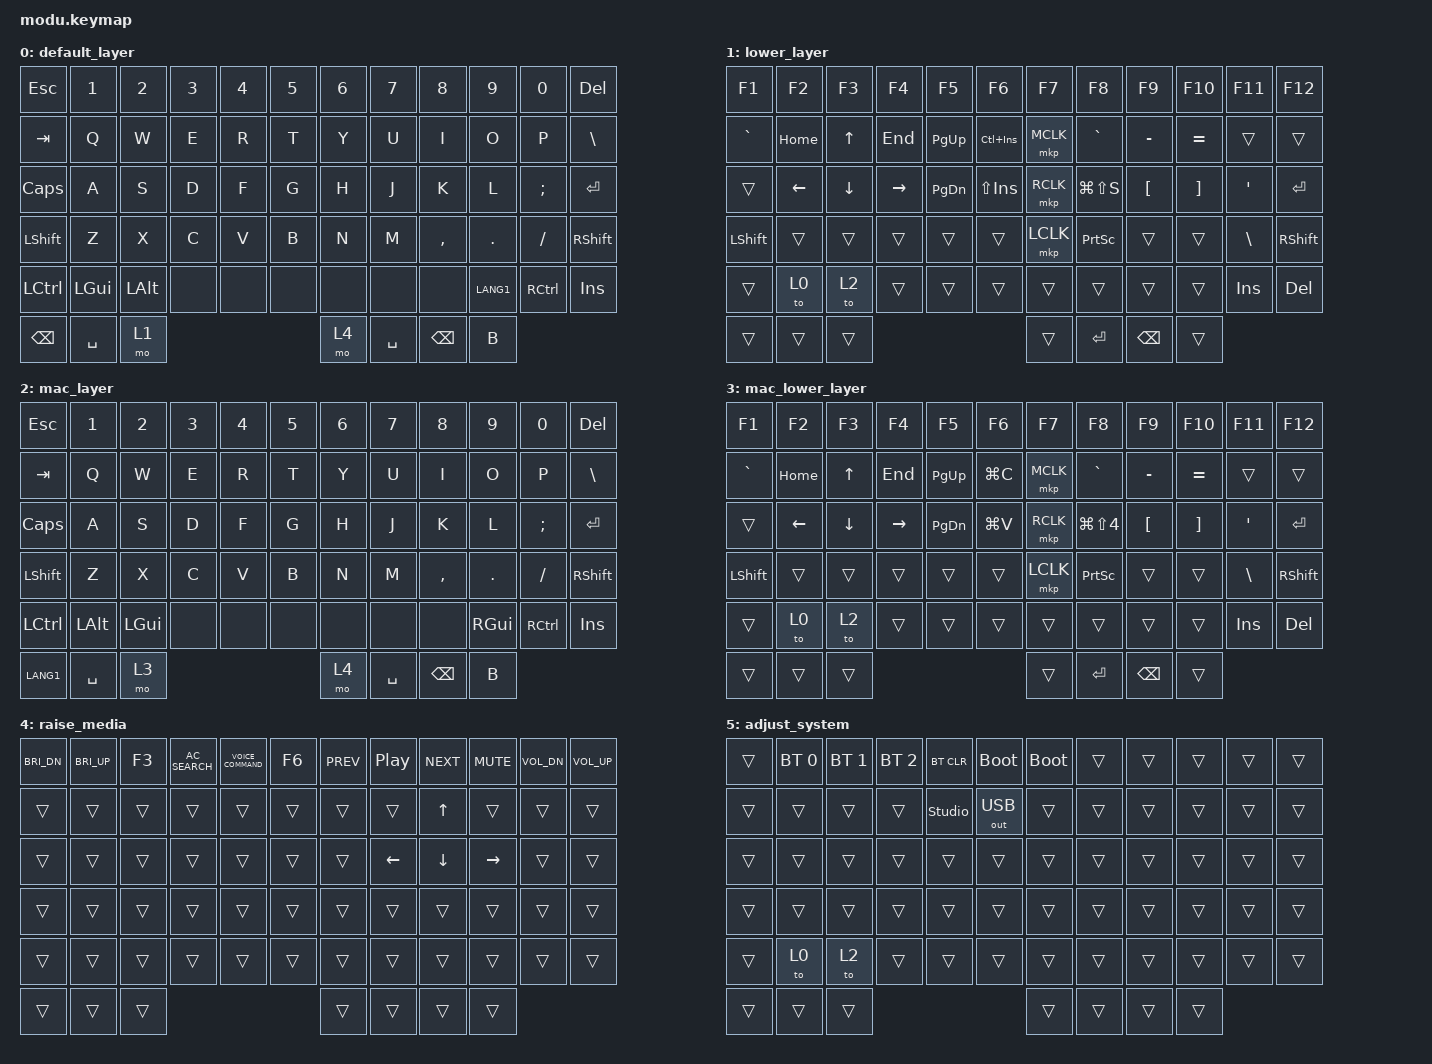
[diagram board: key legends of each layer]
/*
 * Copyright (c) 2026 EKS Inc.
 * Created by Ryu.
 * SPDX-License-Identifier: LicenseRef-EKS-NonCommercial-1.0
 *
 * Optimized:
 * Reduced 9 layers to 6 using Conditional Layers.
 * - Left MO: Navigation & F-keys (Win Lower / Mac Lower)
 * - Right MO: Media Controls (Raise)
 * - Both MOs: Adjust (Bootloader, BT, OS Toggle)
 * - OS Modes:
 *   - Windows (Layer 0): Standard PC layout [Ctrl] - [Win] - [Alt]
 *   - Mac (Layer 2): Standard Apple layout [Ctrl] - [Opt] - [Cmd]
 */

#include <behaviors.dtsi>
#include <dt-bindings/zmk/bt.h>
#include <dt-bindings/zmk/keys.h>
#include <dt-bindings/zmk/pointing.h>
#include <dt-bindings/zmk/outputs.h>
#include "modu-layouts.dtsi"

/ {
    /*
     * -------------------------------------------------------------------------
     * [레이어 구조 안내]
     * - Layer 0 (default_layer) : Windows 기본 (Ctrl - Win - Alt)
     * - Layer 1 (lower_layer)   : Windows Lower (F1~F12, 방향키, Win 클립보드)
     * - Layer 2 (mac_layer)     : Mac 기본 (Ctrl - Opt - Cmd)
     * - Layer 3 (mac_lower_layer): Mac Lower (F1~F12, 방향키, Mac 클립보드)
     * - Layer 4 (raise_media)   : 미디어 컨트롤 (밝기, 볼륨, 트랙 제어)
     * - Layer 5 (adjust_system) : 시스템 설정 (양손 엄지 동시 홀드 시 발동)
     *
     * [모드 전환 방법]
     * - 왼쪽 엄지 MO(Lower) 또는 양손 엄지 MO(Adjust) 누른 상태에서:
     *   - 49번 (Row 4 Col 1): &to 0 -> Windows 모드 전환
     *   - 50번 (Row 4 Col 2): &to 2 -> Mac 모드 전환
     *
     * [시스템 리셋 콤보]
     * - Lower 또는 Adjust 상태에서 LCTRL(48) + 5 + 6 동시 입력
     * -------------------------------------------------------------------------
     */

    combos {
        compatible = "zmk,combos";

        reset {
            bindings = <&sys_reset>;
            key-positions = <48 5 6>;
            layers = <1 3 5>; // Lower 및 Adjust 상태에서만 작동하여 일상 타이핑 오작동 방지
        };
    };

    // 양손 엄지 MO를 동시에 누르면 ADJUST(시스템/부트로더) 레이어 자동 활성화
    conditional_layers {
        compatible = "zmk,conditional-layers";
        
        adjust_win {
            if-layers = <1 4>; // Win Lower(1) + Raise(4) 동시 입력 시
            then-layer = <5>;  // Adjust(5) 활성화
        };
        adjust_mac {
            if-layers = <3 4>; // Mac Lower(3) + Raise(4) 동시 입력 시
            then-layer = <5>;  // Adjust(5) 활성화
        };
    };

    keymap {
        compatible = "zmk,keymap";

        // Layer 0: 윈도우 기본 (표준 PC 배열: Ctrl - Win - Alt)
        default_layer {
            bindings = <
&kp ESC       &kp N1     &kp N2    &kp N3  &kp N4  &kp N5  &kp N6    &kp N7     &kp N8     &kp N9    &kp N0     &kp DELETE
&kp TAB       &kp Q      &kp W     &kp E   &kp R   &kp T   &kp Y     &kp U      &kp I      &kp O     &kp P      &kp BSLH
&kp CAPS      &kp A      &kp S     &kp D   &kp F   &kp G   &kp H     &kp J      &kp K      &kp L     &kp SEMI   &kp ENTER
&kp LSHFT     &kp Z      &kp X     &kp C   &kp V   &kp B   &kp N     &kp M      &kp COMMA  &kp DOT   &kp FSLH   &kp RIGHT_SHIFT
&kp LCTRL     &kp LGUI   &kp LALT  &none   &none   &none   &none     &none      &none      &kp LANG1 &kp RCTRL  &kp INSERT
&kp BACKSPACE &kp SPACE  &mo 1                             &mo 4     &kp SPACE  &kp BACKSPACE &kp B
            >;
        };

        // Layer 1: 윈도우 네비게이션 & F키 (왼쪽 엄지)
        lower_layer {
            bindings = <
&kp F1      &kp F2        &kp F3        &kp F4        &kp F5    &kp F6        &kp F7     &kp F8         &kp F9     &kp F10    &kp F11   &kp F12
&kp GRAVE   &kp HOME      &kp UP        &kp END       &kp PG_UP &kp LC(INS)   &mkp MCLK  &kp GRAVE      &kp MINUS  &kp EQUAL  &trans    &trans
&trans      &kp LEFT      &kp DOWN      &kp RIGHT     &kp PG_DN &kp LS(INS)   &mkp RCLK  &kp LG(LS(S))  &kp LBKT   &kp RBKT   &kp SQT   &kp ENTER
&kp LSHFT   &trans        &trans        &trans        &trans    &trans        &mkp LCLK  &kp PSCRN      &trans     &trans     &kp BSLH  &kp RIGHT_SHIFT
&trans      &to 0         &to 2         &trans        &trans    &trans        &trans     &trans         &trans     &trans     &kp INS   &kp DEL
&trans      &trans        &trans                                              &trans     &kp ENTER      &kp BACKSPACE &trans
            >;
        };

        // Layer 2: 맥 기본 (표준 Apple 배열: Ctrl - Opt - Cmd)
        mac_layer {
            bindings = <
&kp ESC       &kp N1     &kp N2    &kp N3  &kp N4  &kp N5  &kp N6    &kp N7     &kp N8     &kp N9    &kp N0     &kp DELETE
&kp TAB       &kp Q      &kp W     &kp E   &kp R   &kp T   &kp Y     &kp U      &kp I      &kp O     &kp P      &kp BSLH
&kp CAPS      &kp A      &kp S     &kp D   &kp F   &kp G   &kp H     &kp J      &kp K      &kp L     &kp SEMI   &kp ENTER
&kp LSHFT     &kp Z      &kp X     &kp C   &kp V   &kp B   &kp N     &kp M      &kp COMMA  &kp DOT   &kp FSLH   &kp RIGHT_SHIFT
&kp LCTRL     &kp LALT   &kp LGUI  &none   &none   &none   &none     &none      &none      &kp RGUI  &kp RCTRL  &kp INSERT
&kp LANG1     &kp SPACE  &mo 3                             &mo 4     &kp SPACE  &kp BACKSPACE &kp B
            >;
        };

        // Layer 3: 맥 네비게이션 & F키 (왼쪽 엄지) - 맥 전용 복붙(Cmd+C)
        mac_lower_layer {
            bindings = <
&kp F1      &kp F2        &kp F3        &kp F4        &kp F5    &kp F6        &kp F7     &kp F8         &kp F9     &kp F10    &kp F11   &kp F12
&kp GRAVE   &kp HOME      &kp UP        &kp END       &kp PG_UP &kp LG(C)     &mkp MCLK  &kp GRAVE      &kp MINUS  &kp EQUAL  &trans    &trans
&trans      &kp LEFT      &kp DOWN      &kp RIGHT     &kp PG_DN &kp LG(V)     &mkp RCLK  &kp LG(LS(N4)) &kp LBKT   &kp RBKT   &kp SQT   &kp ENTER
&kp LSHFT   &trans        &trans        &trans        &trans    &trans        &mkp LCLK  &kp PSCRN      &trans     &trans     &kp BSLH  &kp RIGHT_SHIFT
&trans      &to 0         &to 2         &trans        &trans    &trans        &trans     &trans         &trans     &trans     &kp INS   &kp DEL
&trans      &trans        &trans                                              &trans     &kp ENTER      &kp BACKSPACE &trans
            >;
        };

        // Layer 4: 미디어 컨트롤 전용 (오른쪽 엄지) - Win/Mac 공용
        raise_media {
            bindings = <
&kp C_BRI_DN  &kp C_BRI_UP  &kp F3        &kp C_AC_SEARCH &kp C_VOICE_COMMAND &kp F6    &kp C_PREV  &kp C_PP       &kp C_NEXT  &kp C_MUTE  &kp C_VOL_DN  &kp C_VOL_UP
&trans        &trans        &trans        &trans          &trans              &trans    &trans      &trans         &kp UP      &trans      &trans        &trans
&trans        &trans        &trans        &trans          &trans              &trans    &trans      &kp LEFT       &kp DOWN    &kp RIGHT   &trans        &trans
&trans        &trans        &trans        &trans          &trans              &trans    &trans      &trans         &trans      &trans      &trans        &trans
&trans        &trans        &trans        &trans          &trans              &trans    &trans      &trans         &trans      &trans      &trans        &trans
&trans        &trans        &trans                                                      &trans      &trans         &trans      &trans
            >;
        };

        // Layer 5: 시스템/부트로더 설정 (양쪽 엄지 동시 누름)
        adjust_system {
            bindings = <
&trans  &bt BT_SEL 0  &bt BT_SEL 1  &bt BT_SEL 2  &bt BT_CLR      &bootloader  &bootloader  &trans  &trans  &trans  &trans  &trans
&trans  &trans        &trans        &trans        &studio_unlock  &out OUT_USB &trans       &trans  &trans  &trans  &trans  &trans
&trans  &trans        &trans        &trans        &trans          &trans       &trans       &trans  &trans  &trans  &trans  &trans
&trans  &trans        &trans        &trans        &trans          &trans       &trans       &trans  &trans  &trans  &trans  &trans
&trans  &to 0         &to 2         &trans        &trans          &trans       &trans       &trans  &trans  &trans  &trans  &trans
&trans  &trans        &trans                                                   &trans       &trans  &trans  &trans
            >;
        };
    };
};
